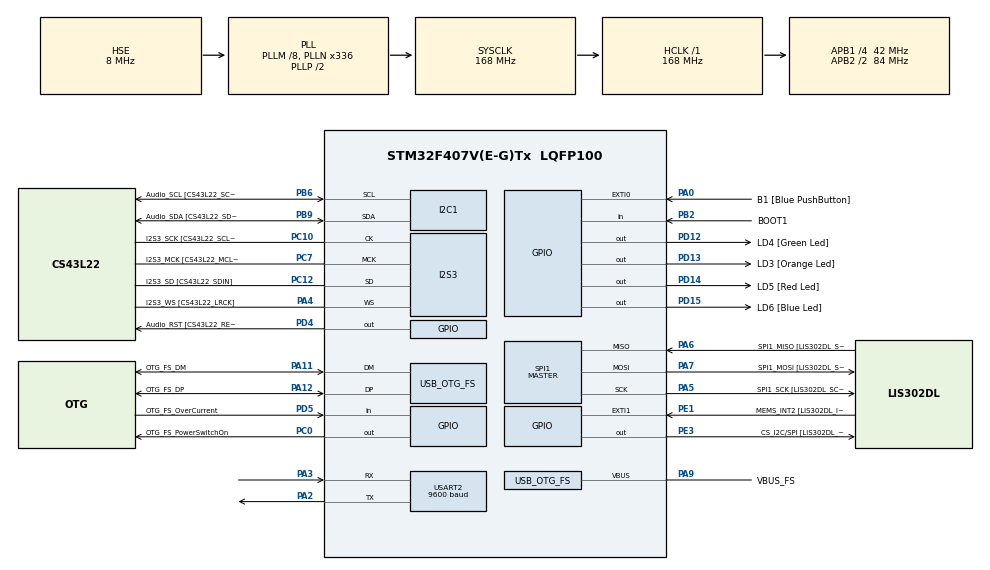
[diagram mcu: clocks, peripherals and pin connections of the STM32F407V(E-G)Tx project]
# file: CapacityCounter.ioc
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I2S3.AudioFreq-Half_Duplex_Master=I2S_AUDIOFREQ_96K
I2S3.ErrorAudioFreq=-2.34 %
I2S3.ErrorAudioFreq-Half_Duplex_Master=0.8 %
I2S3.FullDuplexMode=I2S_FULLDUPLEXMODE_DISABLE
I2S3.Instance=SPI$Index
I2S3.RealAudioFreq=93.75 KHz
I2S3.RealAudioFreq-Half_Duplex_Master=96.774 KHz
I2S3.VirtualMode=I2S_MODE_MASTER
Mcu.Family=STM32F4
Mcu.Name=STM32F407V(E-G)Tx
Mcu.Package=LQFP100
NVIC.OTG_FS_IRQn=true\:0\:0\:false\:false\:true\:true\:true
NVIC.PriorityGroup=NVIC_PRIORITYGROUP_0
PA0-WKUP.GPIO_Label=B1 [Blue PushButton]
PA0-WKUP.GPIO_ModeDefaultEXTI=GPIO_MODE_EVT_RISING
PA0-WKUP.GPIO_PuPd=GPIO_NOPULL
PA0-WKUP.Signal=GPXTI0
PA10.GPIO_Label=OTG_FS_ID
PA10.GPIO_Mode=GPIO_MODE_AF_PP
PA10.GPIO_PuPd=GPIO_NOPULL
PA10.GPIO_Speed=GPIO_SPEED_FREQ_LOW
PA10.Signal=USB_OTG_FS_ID
PA11.GPIO_Label=OTG_FS_DM
PA11.GPIO_Mode=GPIO_MODE_AF_PP
PA11.GPIO_PuPd=GPIO_NOPULL
PA11.GPIO_Speed=GPIO_SPEED_FREQ_LOW
PA11.Mode=Host_Only
PA11.Signal=USB_OTG_FS_DM
PA12.GPIO_Label=OTG_FS_DP
PA12.GPIO_Mode=GPIO_MODE_AF_PP
PA12.GPIO_PuPd=GPIO_NOPULL
PA12.GPIO_Speed=GPIO_SPEED_FREQ_LOW
PA12.Mode=Host_Only
PA12.Signal=USB_OTG_FS_DP
PA13.GPIO_Label=SWDIO
PA13.Mode=Serial_Wire
PA13.Signal=SYS_JTMS-SWDIO
PA14.GPIO_Label=SWCLK
PA14.Mode=Serial_Wire
PA14.Signal=SYS_JTCK-SWCLK
PA2.Mode=Asynchronous
PA2.Signal=USART2_TX
PA3.Mode=Asynchronous
PA3.Signal=USART2_RX
PA4.GPIO_Label=I2S3_WS [CS43L22_LRCK]
PA4.GPIO_Mode=GPIO_MODE_AF_PP
PA4.GPIO_PuPd=GPIO_NOPULL
PA4.GPIO_Speed=GPIO_SPEED_FREQ_LOW
PA4.Mode=Half_Duplex_Master
PA4.Signal=I2S3_WS
PA5.GPIO_Label=SPI1_SCK [LIS302DL_SCL/SPC]
PA5.GPIO_Mode=GPIO_MODE_AF_PP
PA5.GPIO_PuPd=GPIO_NOPULL
PA5.GPIO_Speed=GPIO_SPEED_FREQ_LOW
PA5.Mode=Full_Duplex_Master
PA5.Signal=SPI1_SCK
PA6.GPIO_Label=SPI1_MISO [LIS302DL_SDO]
PA6.GPIO_Mode=GPIO_MODE_AF_PP
PA6.GPIO_PuPd=GPIO_NOPULL
PA6.GPIO_Speed=GPIO_SPEED_FREQ_LOW
PA6.Mode=Full_Duplex_Master
PA6.Signal=SPI1_MISO
PA7.GPIO_Label=SPI1_MOSI [LIS302DL_SDA/SDI/SDO]
PA7.GPIO_Mode=GPIO_MODE_AF_PP
PA7.GPIO_PuPd=GPIO_NOPULL
PA7.GPIO_Speed=GPIO_SPEED_FREQ_LOW
PA7.Mode=Full_Duplex_Master
PA7.Signal=SPI1_MOSI
PA9.GPIO_Label=VBUS_FS
PA9.GPIO_Mode=GPIO_MODE_INPUT
PA9.GPIO_PuPd=GPIO_NOPULL
PA9.Mode=Activate_VBUS
PA9.Signal=USB_OTG_FS_VBUS
PB10.GPIO_Label=CLK_IN [MP45DT02_CLK]
PB10.GPIO_Mode=GPIO_MODE_AF_PP
PB10.GPIO_PuPd=GPIO_NOPULL
PB10.GPIO_Speed=GPIO_SPEED_FREQ_LOW
PB10.Signal=I2S2_CK
PB2.GPIO_Label=BOOT1
PB2.GPIO_Mode=GPIO_MODE_INPUT
PB2.GPIO_PuPd=GPIO_NOPULL
PB2.Signal=GPIO_Input
PB3.GPIO_Label=SWO
PB3.Signal=SYS_JTDO-SWO
PB6.GPIO_Label=Audio_SCL [CS43L22_SCL]
PB6.GPIO_Mode=GPIO_MODE_AF_OD
PB6.GPIO_Pu=GPIO_PULLUP
PB6.GPIO_PuPd=GPIO_NOPULL
PB6.GPIO_Speed=GPIO_SPEED_FREQ_LOW
PB6.Mode=I2C
PB6.Signal=I2C1_SCL
PB9.GPIO_Label=Audio_SDA [CS43L22_SDA]
PB9.GPIO_Mode=GPIO_MODE_AF_OD
PB9.GPIO_Pu=GPIO_PULLUP
PB9.GPIO_PuPd=GPIO_NOPULL
PB9.GPIO_Speed=GPIO_SPEED_FREQ_LOW
PB9.Mode=I2C
PB9.Signal=I2C1_SDA
PC0.GPIO_Label=OTG_FS_PowerSwitchOn
PC0.GPIO_PuPd=GPIO_NOPULL
PC0.GPIO_Speed=GPIO_SPEED_FREQ_LOW
PC0.PinState=GPIO_PIN_SET
PC0.Signal=GPIO_Output
PC10.GPIO_Label=I2S3_SCK [CS43L22_SCLK]
PC10.GPIO_Mode=GPIO_MODE_AF_PP
PC10.GPIO_PuPd=GPIO_NOPULL
PC10.GPIO_Speed=GPIO_SPEED_FREQ_LOW
PC10.Mode=Half_Duplex_Master
PC10.Signal=I2S3_CK
PC12.GPIO_Label=I2S3_SD [CS43L22_SDIN]
PC12.GPIO_Mode=GPIO_MODE_AF_PP
PC12.GPIO_PuPd=GPIO_NOPULL
PC12.GPIO_Speed=GPIO_SPEED_FREQ_LOW
PC12.Mode=Half_Duplex_Master
PC12.Signal=I2S3_SD
PC14-OSC32_IN.GPIO_Label=PC14-OSC32_IN
PC14-OSC32_IN.Mode=LSE-External-Oscillator
PC14-OSC32_IN.Signal=RCC_OSC32_IN
PC15-OSC32_OUT.GPIO_Label=PC15-OSC32_OUT
PC15-OSC32_OUT.Mode=LSE-External-Oscillator
PC15-OSC32_OUT.Signal=RCC_OSC32_OUT
PC3.GPIO_Label=PDM_OUT [MP45DT02_DOUT]
PC3.GPIO_Mode=GPIO_MODE_AF_PP
PC3.GPIO_PuPd=GPIO_NOPULL
PC3.GPIO_Speed=GPIO_SPEED_FREQ_LOW
PC3.Signal=I2S2_SD
PC7.GPIO_Label=I2S3_MCK [CS43L22_MCLK]
PC7.GPIO_Mode=GPIO_MODE_AF_PP
PC7.GPIO_PuPd=GPIO_NOPULL
PC7.GPIO_Speed=GPIO_SPEED_FREQ_LOW
PC7.Mode=Master_Clock_Activated
PC7.Signal=I2S3_MCK
PD12.GPIO_Label=LD4 [Green Led]
PD12.GPIO_PuPd=GPIO_NOPULL
PD12.GPIO_Speed=GPIO_SPEED_FREQ_LOW
PD12.Signal=GPIO_Output
PD13.GPIO_Label=LD3 [Orange Led]
PD13.GPIO_PuPd=GPIO_NOPULL
PD13.GPIO_Speed=GPIO_SPEED_FREQ_LOW
PD13.Signal=GPIO_Output
PD14.GPIO_Label=LD5 [Red Led]
PD14.GPIO_PuPd=GPIO_NOPULL
PD14.GPIO_Speed=GPIO_SPEED_FREQ_LOW
PD14.Signal=GPIO_Output
PD15.GPIO_Label=LD6 [Blue Led]
PD15.GPIO_PuPd=GPIO_NOPULL
PD15.GPIO_Speed=GPIO_SPEED_FREQ_LOW
PD15.Signal=GPIO_Output
PD4.GPIO_Label=Audio_RST [CS43L22_RESET]
PD4.GPIO_PuPd=GPIO_NOPULL
PD4.GPIO_Speed=GPIO_SPEED_FREQ_LOW
PD4.Signal=GPIO_Output
PD5.GPIO_Label=OTG_FS_OverCurrent
PD5.GPIO_Mode=GPIO_MODE_INPUT
PD5.GPIO_PuPd=GPIO_NOPULL
PD5.Signal=GPIO_Input
PE1.GPIO_Label=MEMS_INT2 [LIS302DL_INT2]
PE1.GPIO_ModeDefaultEXTI=GPIO_MODE_EVT_RISING
PE1.GPIO_PuPd=GPIO_NOPULL
PE1.Signal=GPXTI1
PE3.GPIO_Label=CS_I2C/SPI [LIS302DL_CS_I2C/SPI]
PE3.GPIO_PuPd=GPIO_NOPULL
PE3.GPIO_Speed=GPIO_SPEED_FREQ_LOW
PE3.Signal=GPIO_Output
PH0-OSC_IN.GPIO_Label=PH0-OSC_IN
PH0-OSC_IN.Mode=HSE-External-Oscillator
PH0-OSC_IN.Signal=RCC_OSC_IN
PH1-OSC_OUT.GPIO_Label=PH1-OSC_OUT
PH1-OSC_OUT.Mode=HSE-External-Oscillator
PH1-OSC_OUT.Signal=RCC_OSC_OUT
ProjectManager.HeapSize=0x200
ProjectManager.StackSize=0x400
ProjectManager.TargetToolchain=STM32CubeIDE
RCC.48MHZClocksFreq_Value=48000000
RCC.AHBFreq_Value=168000000
RCC.APB1CLKDivider=RCC_HCLK_DIV4
RCC.APB1Freq_Value=42000000
RCC.APB1TimFreq_Value=84000000
RCC.APB2CLKDivider=RCC_HCLK_DIV2
RCC.APB2Freq_Value=84000000
RCC.APB2TimFreq_Value=168000000
RCC.CortexFreq_Value=168000000
RCC.HCLKFreq_Value=168000000
RCC.HSE_VALUE=8000000
RCC.HSI_VALUE=16000000
RCC.PLLM=8
RCC.PLLN=336
RCC.PLLQ=7
RCC.SYSCLKFreq_VALUE=168000000
RCC.SYSCLKSource=RCC_SYSCLKSOURCE_PLLCLK
RCC.VCOOutputFreq_Value=336000000
SPI1.BaudRatePrescaler-Full_Duplex_Master=SPI_BAUDRATEPRESCALER_2
SPI1.CalculateBaudRate-Full_Duplex_Master=42.0 MBits/s
SPI1.Direction=SPI_DIRECTION_2LINES
SPI1.Mode=SPI_MODE_MASTER
SPI1.Mode-Full_Duplex_Master=SPI_MODE_MASTER
SPI1.VirtualType=VM_MASTER
USART2.BaudRate=9600
USART2.VirtualMode=VM_ASYNC
USB_HOST.BSP.number=1
USB_HOST.USBH_HandleTypeDef-CDC_FS=hUsbHostFS
USB_HOST.VirtualModeFS=Cdc
USB_HOST0.BSP.STBoard=false
USB_HOST0.BSP.api=Unknown
USB_HOST0.BSP.i2caddr=0
USB_HOST0.BSP.i2creg=0
USB_HOST0.BSP.instance=PC0
USB_HOST0.BSP.ip=GPIO
USB_HOST0.BSP.mode=Output
USB_HOST0.BSP.name=Drive_VBUS_FS
USB_HOST0.BSP.solution=PC0
USB_OTG_FS.VirtualMode=Host_Only
USB_OTG_FS.phy_itface=HCD_PHY_EMBEDDED
VP_USB_HOST_VS_USB_HOST_CDC_FS.Mode=CDC_FS
board=STM32F407G-DISC1

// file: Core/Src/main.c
/* USER CODE BEGIN Header */
/**
  ******************************************************************************
  * @file           : main.c
  * @brief          : Main program body
  ******************************************************************************
  * @attention
  *
  * Copyright (c) 2022 STMicroelectronics.
  * All rights reserved.
  *
  * This software is licensed under terms that can be found in the LICENSE file
  * in the root directory of this software component.
  * If no LICENSE file comes with this software, it is provided AS-IS.
  *
  ******************************************************************************
  */
/* USER CODE END Header */
#include "main.h"
#include "usb_host.h"
#include "string.h"

I2C_HandleTypeDef hi2c1;

I2S_HandleTypeDef hi2s3;

SPI_HandleTypeDef hspi1;

UART_HandleTypeDef huart2;

void SystemClock_Config(void);
static void MX_GPIO_Init(void);
static void MX_I2C1_Init(void);
static void MX_I2S3_Init(void);
static void MX_SPI1_Init(void);
static void MX_USART2_UART_Init(void);
void MX_USB_HOST_Process(void);

int main(void)
{
  /* USER CODE BEGIN 1 */
  int capacity = 0; // current capacity of space
  int cycles = 0; // count of cycles to send data
  /* USER CODE END 1 */

  /* MCU Configuration--------------------------------------------------------*/

  /* Reset of all peripherals, Initializes the Flash interface and the Systick. */
  HAL_Init();

  /* Configure the system clock */
  SystemClock_Config();

  /* Initialize all configured peripherals */
  MX_GPIO_Init();
  MX_I2C1_Init();
  MX_I2S3_Init();
  MX_SPI1_Init();
  MX_USB_HOST_Init();
  MX_USART2_UART_Init();
  /* USER CODE BEGIN 2 */
  enum capCount_state{NO_LIT, OUT_LIT, IN_LIT, BOTH_LIT};
  enum capCount_state st = NO_LIT;
  /* USER CODE END 2 */

  /* Infinite loop */
  while (1)
  {
    MX_USB_HOST_Process();

    /* USER CODE BEGIN 3 */
    //GPIO pins indicating sensor outside or inside an entrance frame
    int out_sensor = HAL_GPIO_ReadPin(GPIOD, GPIO_PIN_0);
    int in_sensor  = HAL_GPIO_ReadPin(GPIOD, GPIO_PIN_2);

    // user feedback, a specfic light will turn on when a specific case is entered below
    HAL_GPIO_WritePin(GPIOD, GPIO_PIN_12, 0);
    HAL_GPIO_WritePin(GPIOD, GPIO_PIN_13, 0);
    HAL_GPIO_WritePin(GPIOD, GPIO_PIN_14, 0);
    HAL_GPIO_WritePin(GPIOD, GPIO_PIN_15, 0);

    /* Capacity Counter - uses 4 cases to interpret input form 2 motion sensors.
     * NO_LIT: both sensors do not sense person
     * OUT_LIT: only the outside motion sensor senses a person
     * IN_LIT: only the inside motion sensor senses a person
     * BOTH_LIT: both sensors sense a person.
     *
     * from the BOTH_LIT stage to the OUT_LIT stage: this indicates
     * that a person has left and the capacity will -1
     * from the BOTH_LIT stage to the IN_LIT stage: this indicates
     * that a person has entered and the capacity will +1
    */
    switch (st) {
    	case NO_LIT:
    		if (out_sensor && !in_sensor) {
    			st = OUT_LIT;
       		} else if (!out_sensor && in_sensor) {
       			st = IN_LIT;
       		} else if (out_sensor && in_sensor) {
       			st = BOTH_LIT;
       		}
        	HAL_GPIO_WritePin(GPIOD, GPIO_PIN_13, 1);
        	break;
    	case OUT_LIT:
    		if (!out_sensor && !in_sensor) {
    			st = NO_LIT;
    		} else if (!out_sensor && in_sensor) {
    			st = IN_LIT;
    		} else if (out_sensor && in_sensor) {
    			st = BOTH_LIT;
    		}
    		HAL_GPIO_WritePin(GPIOD, GPIO_PIN_12, 1);
        	break;
    	case IN_LIT:
    		if (!out_sensor && !in_sensor) {
    			st = NO_LIT;
    		} else if (out_sensor && !in_sensor) {
    			st = OUT_LIT;
    		} else if (out_sensor && in_sensor) {
    			st = BOTH_LIT;
    		}
    		HAL_GPIO_WritePin(GPIOD, GPIO_PIN_14, 1);
    		break;
    	case BOTH_LIT:
    		if (!out_sensor && !in_sensor) {
    			st = NO_LIT;
    		} else if (out_sensor && !in_sensor) {
    			st = OUT_LIT;
    			capacity -= 1;
    		} else if (!out_sensor && in_sensor) {
    			st = IN_LIT;
    			capacity += 1;
    		}
    		HAL_GPIO_WritePin(GPIOD, GPIO_PIN_15, 1);
    }

    // transmit data to raspi4
    if (cycles == 10000) {
		char buffer[] = "Hunter";
		sprintf(buffer, "%ld", capacity);
		HAL_UART_Transmit(&huart2, (uint8_t *) buffer, strlen(buffer), 1000);
		char newline[] = "\r\n";
		HAL_UART_Transmit(&huart2, (uint8_t *) newline, 2, 1000);
		cycles = 0;
    }

    HAL_Delay(1);
    cycles = cycles + 1;
  }
  /* USER CODE END 3 */
}

void SystemClock_Config(void)
{
  RCC_OscInitTypeDef RCC_OscInitStruct = {0};
  RCC_ClkInitTypeDef RCC_ClkInitStruct = {0};

  /** Configure the main internal regulator output voltage
  */
  __HAL_RCC_PWR_CLK_ENABLE();
  __HAL_PWR_VOLTAGESCALING_CONFIG(PWR_REGULATOR_VOLTAGE_SCALE1);
  /** Initializes the RCC Oscillators according to the specified parameters
  * in the RCC_OscInitTypeDef structure.
  */
  RCC_OscInitStruct.OscillatorType = RCC_OSCILLATORTYPE_HSE;
  RCC_OscInitStruct.HSEState = RCC_HSE_ON;
  RCC_OscInitStruct.PLL.PLLState = RCC_PLL_ON;
  RCC_OscInitStruct.PLL.PLLSource = RCC_PLLSOURCE_HSE;
  RCC_OscInitStruct.PLL.PLLM = 8;
  RCC_OscInitStruct.PLL.PLLN = 336;
  RCC_OscInitStruct.PLL.PLLP = RCC_PLLP_DIV2;
  RCC_OscInitStruct.PLL.PLLQ = 7;
  if (HAL_RCC_OscConfig(&RCC_OscInitStruct) != HAL_OK)
  {
    Error_Handler();
  }
  /** Initializes the CPU, AHB and APB buses clocks
  */
  RCC_ClkInitStruct.ClockType = RCC_CLOCKTYPE_HCLK|RCC_CLOCKTYPE_SYSCLK
                              |RCC_CLOCKTYPE_PCLK1|RCC_CLOCKTYPE_PCLK2;
  RCC_ClkInitStruct.SYSCLKSource = RCC_SYSCLKSOURCE_PLLCLK;
  RCC_ClkInitStruct.AHBCLKDivider = RCC_SYSCLK_DIV1;
  RCC_ClkInitStruct.APB1CLKDivider = RCC_HCLK_DIV4;
  RCC_ClkInitStruct.APB2CLKDivider = RCC_HCLK_DIV2;

  if (HAL_RCC_ClockConfig(&RCC_ClkInitStruct, FLASH_LATENCY_5) != HAL_OK)
  {
    Error_Handler();
  }
}

static void MX_I2C1_Init(void)
{

  hi2c1.Instance = I2C1;
  hi2c1.Init.ClockSpeed = 100000;
  hi2c1.Init.DutyCycle = I2C_DUTYCYCLE_2;
  hi2c1.Init.OwnAddress1 = 0;
  hi2c1.Init.AddressingMode = I2C_ADDRESSINGMODE_7BIT;
  hi2c1.Init.DualAddressMode = I2C_DUALADDRESS_DISABLE;
  hi2c1.Init.OwnAddress2 = 0;
  hi2c1.Init.GeneralCallMode = I2C_GENERALCALL_DISABLE;
  hi2c1.Init.NoStretchMode = I2C_NOSTRETCH_DISABLE;
  if (HAL_I2C_Init(&hi2c1) != HAL_OK)
  {
    Error_Handler();
  }

}

static void MX_I2S3_Init(void)
{

  hi2s3.Instance = SPI3;
  hi2s3.Init.Mode = I2S_MODE_MASTER_TX;
  hi2s3.Init.Standard = I2S_STANDARD_PHILIPS;
  hi2s3.Init.DataFormat = I2S_DATAFORMAT_16B;
  hi2s3.Init.MCLKOutput = I2S_MCLKOUTPUT_ENABLE;
  hi2s3.Init.AudioFreq = I2S_AUDIOFREQ_96K;
  hi2s3.Init.CPOL = I2S_CPOL_LOW;
  hi2s3.Init.ClockSource = I2S_CLOCK_PLL;
  hi2s3.Init.FullDuplexMode = I2S_FULLDUPLEXMODE_DISABLE;
  if (HAL_I2S_Init(&hi2s3) != HAL_OK)
  {
    Error_Handler();
  }

}

static void MX_SPI1_Init(void)
{

  /* SPI1 parameter configuration*/
  hspi1.Instance = SPI1;
  hspi1.Init.Mode = SPI_MODE_MASTER;
  hspi1.Init.Direction = SPI_DIRECTION_2LINES;
  hspi1.Init.DataSize = SPI_DATASIZE_8BIT;
  hspi1.Init.CLKPolarity = SPI_POLARITY_LOW;
  hspi1.Init.CLKPhase = SPI_PHASE_1EDGE;
  hspi1.Init.NSS = SPI_NSS_SOFT;
  hspi1.Init.BaudRatePrescaler = SPI_BAUDRATEPRESCALER_2;
  hspi1.Init.FirstBit = SPI_FIRSTBIT_MSB;
  hspi1.Init.TIMode = SPI_TIMODE_DISABLE;
  hspi1.Init.CRCCalculation = SPI_CRCCALCULATION_DISABLE;
  hspi1.Init.CRCPolynomial = 10;
  if (HAL_SPI_Init(&hspi1) != HAL_OK)
  {
    Error_Handler();
  }

}

static void MX_USART2_UART_Init(void)
{

  huart2.Instance = USART2;
  huart2.Init.BaudRate = 9600;
  huart2.Init.WordLength = UART_WORDLENGTH_8B;
  huart2.Init.StopBits = UART_STOPBITS_1;
  huart2.Init.Parity = UART_PARITY_NONE;
  huart2.Init.Mode = UART_MODE_TX_RX;
  huart2.Init.HwFlowCtl = UART_HWCONTROL_NONE;
  huart2.Init.OverSampling = UART_OVERSAMPLING_16;
  if (HAL_UART_Init(&huart2) != HAL_OK)
  {
    Error_Handler();
  }

}

static void MX_GPIO_Init(void)
{
  GPIO_InitTypeDef GPIO_InitStruct = {0};

  /* GPIO Ports Clock Enable */
  __HAL_RCC_GPIOE_CLK_ENABLE();
  __HAL_RCC_GPIOC_CLK_ENABLE();
  __HAL_RCC_GPIOH_CLK_ENABLE();
  __HAL_RCC_GPIOA_CLK_ENABLE();
  __HAL_RCC_GPIOB_CLK_ENABLE();
  __HAL_RCC_GPIOD_CLK_ENABLE();

  /*Configure GPIO pin Output Level */
  HAL_GPIO_WritePin(CS_I2C_SPI_GPIO_Port, CS_I2C_SPI_Pin, GPIO_PIN_RESET);

  /*Configure GPIO pin Output Level */
  HAL_GPIO_WritePin(OTG_FS_PowerSwitchOn_GPIO_Port, OTG_FS_PowerSwitchOn_Pin, GPIO_PIN_SET);

  /*Configure GPIO pin Output Level */
  HAL_GPIO_WritePin(GPIOD, LD4_Pin|LD3_Pin|LD5_Pin|LD6_Pin
                          |Audio_RST_Pin, GPIO_PIN_RESET);

  /*Configure GPIO pin : CS_I2C_SPI_Pin */
  GPIO_InitStruct.Pin = CS_I2C_SPI_Pin;
  GPIO_InitStruct.Mode = GPIO_MODE_OUTPUT_PP;
  GPIO_InitStruct.Pull = GPIO_NOPULL;
  GPIO_InitStruct.Speed = GPIO_SPEED_FREQ_LOW;
  HAL_GPIO_Init(CS_I2C_SPI_GPIO_Port, &GPIO_InitStruct);

  /*Configure GPIO pin : OTG_FS_PowerSwitchOn_Pin */
  GPIO_InitStruct.Pin = OTG_FS_PowerSwitchOn_Pin;
  GPIO_InitStruct.Mode = GPIO_MODE_OUTPUT_PP;
  GPIO_InitStruct.Pull = GPIO_NOPULL;
  GPIO_InitStruct.Speed = GPIO_SPEED_FREQ_LOW;
  HAL_GPIO_Init(OTG_FS_PowerSwitchOn_GPIO_Port, &GPIO_InitStruct);

  /*Configure GPIO pin : PDM_OUT_Pin */
  GPIO_InitStruct.Pin = PDM_OUT_Pin;
  GPIO_InitStruct.Mode = GPIO_MODE_AF_PP;
  GPIO_InitStruct.Pull = GPIO_NOPULL;
  GPIO_InitStruct.Speed = GPIO_SPEED_FREQ_LOW;
  GPIO_InitStruct.Alternate = GPIO_AF5_SPI2;
  HAL_GPIO_Init(PDM_OUT_GPIO_Port, &GPIO_InitStruct);

  /*Configure GPIO pin : B1_Pin */
  GPIO_InitStruct.Pin = B1_Pin;
  GPIO_InitStruct.Mode = GPIO_MODE_EVT_RISING;
  GPIO_InitStruct.Pull = GPIO_NOPULL;
  HAL_GPIO_Init(B1_GPIO_Port, &GPIO_InitStruct);

  /*Configure GPIO pin : BOOT1_Pin */
  GPIO_InitStruct.Pin = BOOT1_Pin;
  GPIO_InitStruct.Mode = GPIO_MODE_INPUT;
  GPIO_InitStruct.Pull = GPIO_NOPULL;
  HAL_GPIO_Init(BOOT1_GPIO_Port, &GPIO_InitStruct);

  /*Configure GPIO pin : CLK_IN_Pin */
  GPIO_InitStruct.Pin = CLK_IN_Pin;
  GPIO_InitStruct.Mode = GPIO_MODE_AF_PP;
  GPIO_InitStruct.Pull = GPIO_NOPULL;
  GPIO_InitStruct.Speed = GPIO_SPEED_FREQ_LOW;
  GPIO_InitStruct.Alternate = GPIO_AF5_SPI2;
  HAL_GPIO_Init(CLK_IN_GPIO_Port, &GPIO_InitStruct);

  /*Configure GPIO pins : LD4_Pin LD3_Pin LD5_Pin LD6_Pin
                           Audio_RST_Pin */
  GPIO_InitStruct.Pin = LD4_Pin|LD3_Pin|LD5_Pin|LD6_Pin
                          |Audio_RST_Pin;
  GPIO_InitStruct.Mode = GPIO_MODE_OUTPUT_PP;
  GPIO_InitStruct.Pull = GPIO_NOPULL;
  GPIO_InitStruct.Speed = GPIO_SPEED_FREQ_LOW;
  HAL_GPIO_Init(GPIOD, &GPIO_InitStruct);

  /*Configure GPIO pin : OTG_FS_OverCurrent_Pin */
  GPIO_InitStruct.Pin = OTG_FS_OverCurrent_Pin;
  GPIO_InitStruct.Mode = GPIO_MODE_INPUT;
  GPIO_InitStruct.Pull = GPIO_NOPULL;
  HAL_GPIO_Init(OTG_FS_OverCurrent_GPIO_Port, &GPIO_InitStruct);

  /*Configure GPIO pin : MEMS_INT2_Pin */
  GPIO_InitStruct.Pin = MEMS_INT2_Pin;
  GPIO_InitStruct.Mode = GPIO_MODE_EVT_RISING;
  GPIO_InitStruct.Pull = GPIO_NOPULL;
  HAL_GPIO_Init(MEMS_INT2_GPIO_Port, &GPIO_InitStruct);

}

void Error_Handler(void)
{
  __disable_irq();
  while (1)
  {
  }
}
